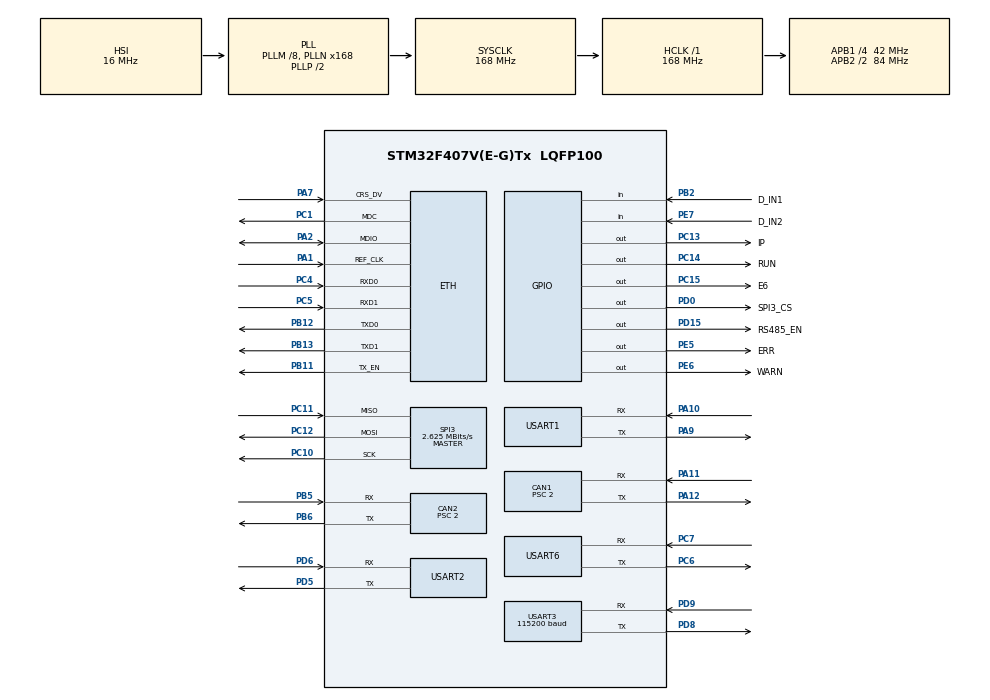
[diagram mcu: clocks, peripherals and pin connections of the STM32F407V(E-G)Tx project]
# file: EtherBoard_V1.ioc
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ADC1.Channel-1\#ChannelRegularConversion=ADC_CHANNEL_TEMPSENSOR
ADC1.ContinuousConvMode=ENABLE
ADC1.NbrOfConversionFlag=1
ADC1.Rank-1\#ChannelRegularConversion=1
ADC1.SamplingTime-1\#ChannelRegularConversion=ADC_SAMPLETIME_480CYCLES
ADC1.master=1
CAN1.ABOM=ENABLE
CAN1.BS1=CAN_BS1_16TQ
CAN1.BS2=CAN_BS2_4TQ
CAN1.CalculateTimeQuantum=47.61904761904762
CAN1.Prescaler=2
CAN2.ABOM=ENABLE
CAN2.BS1=CAN_BS1_16TQ
CAN2.BS2=CAN_BS2_4TQ
CAN2.CalculateTimeQuantum=47.61904761904762
CAN2.Prescaler=2
Dma.ADC1.0.Direction=DMA_PERIPH_TO_MEMORY
Dma.ADC1.0.FIFOMode=DMA_FIFOMODE_DISABLE
Dma.ADC1.0.Instance=DMA2_Stream0
Dma.ADC1.0.MemDataAlignment=DMA_MDATAALIGN_HALFWORD
Dma.ADC1.0.MemInc=DMA_MINC_ENABLE
Dma.ADC1.0.Mode=DMA_CIRCULAR
Dma.ADC1.0.PeriphDataAlignment=DMA_PDATAALIGN_HALFWORD
Dma.ADC1.0.PeriphInc=DMA_PINC_DISABLE
Dma.ADC1.0.Priority=DMA_PRIORITY_LOW
Dma.Request0=ADC1
ETH.AutoNegotiation=ETH_AUTONEGOTIATION_ENABLE
ETH.MACAddr=00\:80\:E1\:00\:00\:01
ETH.MediaInterface=ETH_MEDIA_INTERFACE_RMII
ETH.PHY_CONFIG_DELAY=0x00000FFF
ETH.PHY_DUPLEX_STATUS=0x0004
ETH.PHY_ISFR=0xb
ETH.PHY_ISFR_INT4=0xb
ETH.PHY_Name_RMII=userPHY
ETH.PHY_READ_TO=0x0000FFFF
ETH.PHY_RESET_DELAY=0x000000FF
ETH.PHY_SPEED_STATUS=0x0002
ETH.PHY_SR=0x10
ETH.PHY_User_Name=DP83848
ETH.PHY_WRITE_TO=0x0000FFFF
ETH.PhyAddress=1
ETH.RxMode=ETH_RXPOLLING_MODE
LWIP.GATEWAY_ADDRESS=192.168.002.001
LWIP.IP_ADDRESS=192.168.002.055
LWIP.LWIP_DHCP=1
LWIP.LWIP_HTTPD=1
LWIP.LWIP_HTTPD_CGI=1
LWIP.LWIP_HTTPD_MAX_CGI_PARAMETERS=100
LWIP.LWIP_HTTPD_MAX_REQUEST_URI_LEN=200
LWIP.LWIP_HTTPD_MAX_TAG_INSERT_LEN=250
LWIP.LWIP_HTTPD_MAX_TAG_NAME_LEN=40
LWIP.LWIP_HTTPD_POST_MAX_RESPONSE_URI_LEN=200
LWIP.LWIP_HTTPD_SSI=1
LWIP.LWIP_NETIF_HOSTNAME=0
LWIP.MEMP_NUM_RAW_PCB=4
LWIP.MEMP_NUM_TCP_PCB=30
LWIP.MEMP_NUM_TCP_PCB_LISTEN=60
LWIP.MEMP_NUM_TCP_SEG=25
LWIP.NETMASK_ADDRESS=255.255.255.000
LWIP.TCP_MSS=1024
LWIP.TCP_SND_QUEUELEN=20
LWIP.TCP_WND=4096
LWIP.Version=v2.0.3_Cube
Mcu.Family=STM32F4
Mcu.Name=STM32F407V(E-G)Tx
Mcu.Package=LQFP100
NVIC.CAN1_RX0_IRQn=true\:0\:0\:false\:false\:true\:true\:true
NVIC.CAN2_RX0_IRQn=true\:0\:0\:false\:false\:true\:true\:true
NVIC.DMA2_Stream0_IRQn=true\:0\:0\:false\:false\:true\:false\:true
NVIC.PriorityGroup=NVIC_PRIORITYGROUP_4
NVIC.TIM6_DAC_IRQn=true\:0\:0\:false\:false\:true\:true\:true
PA1.Mode=RMII
PA1.Signal=ETH_REF_CLK
PA10.Mode=Asynchronous
PA10.Signal=USART1_RX
PA11.Mode=Master
PA11.Signal=CAN1_RX
PA12.Mode=Master
PA12.Signal=CAN1_TX
PA13.Mode=Serial_Wire
PA13.Signal=SYS_JTMS-SWDIO
PA14.Mode=Serial_Wire
PA14.Signal=SYS_JTCK-SWCLK
PA2.Mode=RMII
PA2.Signal=ETH_MDIO
PA7.Mode=RMII
PA7.Signal=ETH_CRS_DV
PA9.Mode=Asynchronous
PA9.Signal=USART1_TX
PB11.Mode=RMII
PB11.Signal=ETH_TX_EN
PB12.Mode=RMII
PB12.Signal=ETH_TXD0
PB13.Mode=RMII
PB13.Signal=ETH_TXD1
PB2.GPIO_Label=D_IN1
PB2.GPIO_PuPd=GPIO_PULLDOWN
PB2.Signal=GPIO_Input
PB5.Mode=Slave
PB5.Signal=CAN2_RX
PB6.Mode=Slave
PB6.Signal=CAN2_TX
PC1.Mode=RMII
PC1.Signal=ETH_MDC
PC10.Mode=Full_Duplex_Master
PC10.Signal=SPI3_SCK
PC11.Mode=Full_Duplex_Master
PC11.Signal=SPI3_MISO
PC12.Mode=Full_Duplex_Master
PC12.Signal=SPI3_MOSI
PC13-ANTI_TAMP.GPIO_Label=IP
PC13-ANTI_TAMP.PinState=GPIO_PIN_SET
PC13-ANTI_TAMP.Signal=GPIO_Output
PC14-OSC32_IN.GPIO_Label=RUN
PC14-OSC32_IN.PinState=GPIO_PIN_SET
PC14-OSC32_IN.Signal=GPIO_Output
PC15-OSC32_OUT.GPIO_Label=E6
PC15-OSC32_OUT.PinState=GPIO_PIN_SET
PC15-OSC32_OUT.Signal=GPIO_Output
PC4.Mode=RMII
PC4.Signal=ETH_RXD0
PC5.Mode=RMII
PC5.Signal=ETH_RXD1
PC6.Mode=Asynchronous
PC6.Signal=USART6_TX
PC7.Mode=Asynchronous
PC7.Signal=USART6_RX
PD0.GPIO_Label=SPI3_CS
PD0.GPIO_Speed=GPIO_SPEED_FREQ_HIGH
PD0.PinState=GPIO_PIN_SET
PD0.Signal=GPIO_Output
PD15.GPIO_Label=RS485_EN
PD15.PinState=GPIO_PIN_SET
PD15.Signal=GPIO_Output
PD5.Mode=Asynchronous
PD5.Signal=USART2_TX
PD6.Mode=Asynchronous
PD6.Signal=USART2_RX
PD8.Mode=Asynchronous
PD8.Signal=USART3_TX
PD9.Mode=Asynchronous
PD9.Signal=USART3_RX
PE5.GPIO_Label=ERR
PE5.PinState=GPIO_PIN_SET
PE5.Signal=GPIO_Output
PE6.GPIO_Label=WARN
PE6.PinState=GPIO_PIN_SET
PE6.Signal=GPIO_Output
PE7.GPIO_Label=D_IN2
PE7.GPIO_PuPd=GPIO_PULLDOWN
PE7.Signal=GPIO_Input
PH0-OSC_IN.Mode=HSE-External-Oscillator
PH0-OSC_IN.Signal=RCC_OSC_IN
PH1-OSC_OUT.Mode=HSE-External-Oscillator
PH1-OSC_OUT.Signal=RCC_OSC_OUT
ProjectManager.HeapSize=0x200
ProjectManager.StackSize=0x400
ProjectManager.TargetToolchain=STM32CubeIDE
RCC.48MHZClocksFreq_Value=84000000
RCC.AHBFreq_Value=168000000
RCC.APB1CLKDivider=RCC_HCLK_DIV4
RCC.APB1Freq_Value=42000000
RCC.APB1TimFreq_Value=84000000
RCC.APB2CLKDivider=RCC_HCLK_DIV2
RCC.APB2Freq_Value=84000000
RCC.APB2TimFreq_Value=168000000
RCC.CortexFreq_Value=168000000
RCC.HCLKFreq_Value=168000000
RCC.HSE_VALUE=16000000
RCC.HSI_VALUE=16000000
RCC.LSE_VALUE=32768
RCC.PLLM=8
RCC.PLLN=168
RCC.SYSCLKFreq_VALUE=168000000
RCC.SYSCLKSource=RCC_SYSCLKSOURCE_PLLCLK
RCC.VCOOutputFreq_Value=336000000
SPI3.BaudRatePrescaler=SPI_BAUDRATEPRESCALER_16
SPI3.CLKPhase=SPI_PHASE_2EDGE
SPI3.CalculateBaudRate=2.625 MBits/s
SPI3.DataSize=SPI_DATASIZE_16BIT
SPI3.Direction=SPI_DIRECTION_2LINES
SPI3.Mode=SPI_MODE_MASTER
SPI3.VirtualType=VM_MASTER
TIM6.Period=1000-1
TIM6.Prescaler=8400-1
USART1.VirtualMode=VM_ASYNC
USART2.VirtualMode=VM_ASYNC
USART3.BaudRate=115200
USART3.VirtualMode=VM_ASYNC
USART6.VirtualMode=VM_ASYNC
VP_ADC1_TempSens_Input.Mode=IN-TempSens
VP_LWIP_VS_Enabled.Mode=Enabled
VP_TIM6_VS_ClockSourceINT.Mode=Enable_Timer
board=custom

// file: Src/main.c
/* USER CODE BEGIN Header */
/**
  ******************************************************************************
  * @file           : main.c
  * @brief          : Main program body
  ******************************************************************************
  * @attention
  *
  * <h2><center>&copy; Copyright (c) 2021 STMicroelectronics.
  * All rights reserved.</center></h2>
  *
  * This software component is licensed by ST under BSD 3-Clause license,
  * the "License"; You may not use this file except in compliance with the
  * License. You may obtain a copy of the License at:
  *                        opensource.org/licenses/BSD-3-Clause
  *
  ******************************************************************************
  */
/* USER CODE END Header */

#include "main.h"
#include "lwip.h"

/* USER CODE BEGIN Includes */
#include <string.h>
#include <stdlib.h>
#include <stdarg.h>
#include "lwip/apps/httpd.h"
#include "ethernetif.h"
#include "stm32f4xx_hal.h"
#include "lwip/tcp.h"
#include "ADS8688.h"
#include "FLASH_SECTOR.h"
/* USER CODE END Includes */

/* USER CODE BEGIN PD */
#define USB_DEBUG 1
#define ETH_TCP_DEBUG 1

#define TCP_DEBUG_PORT 6000
#define startport 5000
#define numofports 10
#define numofclients 3

#define default_interval 500
#define default_msg1_interval 100
#define default_msg2_interval 100

#define BYTE_TO_BIN_PAT "%c%c%c%c%c%c%c%c"
#define BYTE_TO_BIN(byte)		\
	(byte & 0x80 ? '1' : '0'),	\
	(byte & 0x40 ? '1' : '0'),	\
	(byte & 0x20 ? '1' : '0'),	\
	(byte & 0x10 ? '1' : '0'),	\
	(byte & 0x08 ? '1' : '0'),	\
	(byte & 0x04 ? '1' : '0'),	\
	(byte & 0x02 ? '1' : '0'),	\
	(byte & 0x01 ? '1' : '0')

#define ADC_BUF_LEN 2

// --------------------------------------------------------------------------- //
/* USER CODE END PD */

ADC_HandleTypeDef hadc1;
DMA_HandleTypeDef hdma_adc1;

CAN_HandleTypeDef hcan1;
CAN_HandleTypeDef hcan2;

SPI_HandleTypeDef hspi3;

TIM_HandleTypeDef htim6;

UART_HandleTypeDef huart1;
UART_HandleTypeDef huart2;
UART_HandleTypeDef huart3;
UART_HandleTypeDef huart6;

/* USER CODE BEGIN PV */
CAN_FilterTypeDef FilterConfig0;

CAN_RxHeaderTypeDef RxHeader1;
CAN_TxHeaderTypeDef TxHeader1;
CAN_RxHeaderTypeDef RxHeader2;
CAN_TxHeaderTypeDef TxHeader2;
uint8_t r1[8];
uint8_t r2[8];
// Can messages
uint8_t msg1[8] = {0,0,0,0,0,0,0,0};
uint8_t msg2[8] = {0,0,0,0,0,0,0,0};

char buf[100];

// Timing Variables
unsigned int current=0, previous=0, interval=default_interval;
uint32_t my_ip=0, my_net=0, my_gw=0, phyreg = 0U;

// General variables
uint8_t red_led=0, blue_led=0, green_led=0, dhcp_en=1, request_static=0, button_pressed=0;
uint16_t adc_buf[ADC_BUF_LEN];

// flash variables
uint32_t flash_data[] = {0x00000000, 0x00000000, 0x00000000, 0x00000000, 0x00000000};
__IO uint32_t flash_rx_data[5];

// ADS variables
ADS8688 ads;
uint16_t ads_data[8];
float volt_helper = 0;
float ads_volt[8] = {0};
int volt[8] = {0};

// tcp variables
struct tcp_pcb *pcb[numofports][numofclients];
volatile uint8_t accepted_pcb[numofports][numofclients];
volatile uint8_t postPorts=0;

#if ETH_TCP_DEBUG
struct tcp_pcb *debug_pcb;
uint8_t debug_port_accepted=0;
#endif
/* USER CODE END PV */

void SystemClock_Config(void);
static void MX_GPIO_Init(void);
static void MX_DMA_Init(void);
static void MX_CAN1_Init(void);
static void MX_CAN2_Init(void);
static void MX_USART2_UART_Init(void);
static void MX_SPI3_Init(void);
static void MX_USART1_UART_Init(void);
static void MX_USART3_UART_Init(void);
static void MX_USART6_UART_Init(void);
static void MX_ADC1_Init(void);
static void MX_TIM6_Init(void);
/* USER CODE BEGIN PFP */

void print(char *msg, ...);
extern uint32_t get_my_ip();
extern uint32_t get_my_netmask();
extern uint32_t get_my_gateway();

err_t my_tcp_accept(void *arg, struct tcp_pcb *newpcb, err_t err);
void my_tcp_init(struct tcp_pcb *pcb, uint16_t port);
void tcp_send_all();

void Print_PHY_Registers();

void CAN1_Tx(uint32_t ID, uint8_t dlc, uint8_t* data);
void CAN1_Rx();
void CAN2_Tx(uint32_t ID, uint8_t dlc,  uint8_t* data);
void CAN2_Rx();

// ----------------------------------------------------------------------------------------------------------------------------------------------------------------------------------------------------
// CGI & SSI Related Variables and functions
// every time you want a new tag in HTML you have to increase the numSSItags and add the tag string inside theSSItags array
#define numSSItags 5
char const *theSSItags[numSSItags] = {"dhcp_status", "ip", "mask", "gw", "dhcp_box"};

// every time you want a new CGI handler, you have to increase the numCGIhandlers, create an new tCGI variable that states the .cgi and the handler function
// Also don't forget to add the new tCGI variable to theCGItable table inside myCGIinit function
#define numCGIhandlers 1
tCGI theCGItable[numCGIhandlers];
const char* NetCGIhandler(int iIndex, int iNumParams, char *pcParam[], char *pcValue[]);
const tCGI NetCGI = { "/net.cgi", NetCGIhandler };
void myCGIinit(void);
u16_t mySSIHandler(int iIndex, char *pcInsert, int iInsertLen);
void mySSIinit(void);
// ----------------------------------------------------------------------------------------------------------------------------------------------------------------------------------------------------

/* USER CODE END PFP */

int main(void)
{

  /* MCU Configuration--------------------------------------------------------*/

  /* Reset of all peripherals, Initializes the Flash interface and the Systick. */
  HAL_Init();

  /* Configure the system clock */
  SystemClock_Config();

  /* USER CODE BEGIN SysInit */
  HAL_Delay(200);
  /* USER CODE END SysInit */

  /* Initialize all configured peripherals */
  MX_GPIO_Init();
  MX_DMA_Init();
  MX_CAN1_Init();
  MX_CAN2_Init();
  MX_USART2_UART_Init();
  MX_SPI3_Init();
  MX_USART1_UART_Init();
  MX_USART3_UART_Init();
  MX_USART6_UART_Init();
  MX_ADC1_Init();
  MX_TIM6_Init();
  MX_LWIP_Init();
  /* USER CODE BEGIN 2 */
  HAL_ADC_Start_DMA(&hadc1, (uint32_t*)adc_buf, ADC_BUF_LEN);

  httpd_init();
  myCGIinit();
  mySSIinit();

  Flash_Read_Data(START_F_ADDRESS_IP, flash_rx_data, 5);
  print("Flash variables:\n");
  for(uint8_t i=0; i<5; i++) {
	  print("%lu\n",flash_rx_data[i]);
	  flash_data[i] = flash_rx_data[i];
  }
  flash_data[0]++;
  if((flash_data[1] & 0x0001) == 1) {
	  dhcp_en = 0;
  }
  Flash_Write_Data(START_F_ADDRESS_IP, flash_data, 5);

  for(uint8_t i=0; i<numofports; i++) {
	  for(uint8_t j=0; j<numofclients; j++) {
		  my_tcp_init(pcb[i][j], startport + i);
	  }
  }
#if ETH_TCP_DEBUG
  my_tcp_init(debug_pcb, TCP_DEBUG_PORT);
#endif

  ADS8688_Init(&ads, &hspi3, SPI3_CS_GPIO_Port, SPI3_CS_Pin);

  HAL_GPIO_WritePin(E6_GPIO_Port, E6_Pin, GPIO_PIN_RESET);
  HAL_GPIO_WritePin(WARN_GPIO_Port, WARN_Pin, GPIO_PIN_RESET);
  HAL_GPIO_WritePin(IP_GPIO_Port, IP_Pin, GPIO_PIN_RESET);
  HAL_GPIO_WritePin(RUN_GPIO_Port, RUN_Pin, GPIO_PIN_RESET);
  HAL_GPIO_WritePin(ERR_GPIO_Port, ERR_Pin, GPIO_PIN_RESET);
  HAL_GPIO_WritePin(D_IN1_GPIO_Port, D_IN1_Pin, GPIO_PIN_RESET);
  HAL_GPIO_WritePin(D_IN2_GPIO_Port, D_IN2_Pin, GPIO_PIN_RESET);
  HAL_Delay(1000);
  HAL_GPIO_WritePin(E6_GPIO_Port, E6_Pin, GPIO_PIN_SET);
  HAL_GPIO_WritePin(WARN_GPIO_Port, WARN_Pin, GPIO_PIN_SET);
  HAL_GPIO_WritePin(IP_GPIO_Port, IP_Pin, GPIO_PIN_SET);
  HAL_GPIO_WritePin(RUN_GPIO_Port, RUN_Pin, GPIO_PIN_SET);
  HAL_GPIO_WritePin(ERR_GPIO_Port, ERR_Pin, GPIO_PIN_SET);
  HAL_GPIO_WritePin(D_IN1_GPIO_Port, D_IN1_Pin, GPIO_PIN_SET);
  HAL_GPIO_WritePin(D_IN2_GPIO_Port, D_IN2_Pin, GPIO_PIN_SET);

  HAL_TIM_Base_Start_IT(&htim6);

  /* USER CODE END 2 */

  /* Infinite loop */
  /* USER CODE BEGIN WHILE */
  while (1)
  {
	  current = HAL_GetTick();
	  MX_LWIP_Process();
    /* USER CODE END WHILE */

    /* USER CODE BEGIN 3 */

	  if(previous<current) {
		  if(get_my_ip() != 0) {
			  HAL_GPIO_WritePin(IP_GPIO_Port, IP_Pin, GPIO_PIN_RESET);
			  HAL_GPIO_TogglePin(RUN_GPIO_Port, RUN_Pin);
		  }
		  else {
			  HAL_GPIO_TogglePin(IP_GPIO_Port, IP_Pin);
		  }

		  my_ip = get_my_ip();
		  print("IP = %lu.%lu.%lu.%lu\n",(my_ip & 0xff), ((my_ip >> 8) & 0xff), ((my_ip >> 16) & 0xff), (my_ip >> 24));
		  my_net = get_my_netmask();
		  print("SUBNET = %lu.%lu.%lu.%lu\n",(my_net & 0xff), ((my_net >> 8) & 0xff), ((my_net >> 16) & 0xff), (my_net >> 24));
		  my_gw = get_my_gateway();
		  print("GATE = %lu.%lu.%lu.%lu\n",(my_gw & 0xff), ((my_gw >> 8) & 0xff), ((my_gw >> 16) & 0xff), (my_gw >> 24));

		  previous = current;
		  previous+=interval;
	  }

	  if(postPorts) {
		  postPorts = 0;
		  ADS_Read_All_Raw(&ads, ads_data);

		  // convert raw measurements to voltages
		  for(int i=0; i<8; i++) {
			  ads_volt[i] = ((float)ads_data[i])*ADS_0_5_VOLTS/4096.0;	// 0-5 volt channels (see ads init function)
			  volt[i] = (int)(ads_volt[i]*100000000);
		  }

		  tcp_send_all();

	  }
  }
  /* USER CODE END 3 */
}

void SystemClock_Config(void)
{
  RCC_OscInitTypeDef RCC_OscInitStruct = {0};
  RCC_ClkInitTypeDef RCC_ClkInitStruct = {0};

  /** Configure the main internal regulator output voltage
  */
  __HAL_RCC_PWR_CLK_ENABLE();
  __HAL_PWR_VOLTAGESCALING_CONFIG(PWR_REGULATOR_VOLTAGE_SCALE1);
  /** Initializes the CPU, AHB and APB busses clocks
  */
  RCC_OscInitStruct.OscillatorType = RCC_OSCILLATORTYPE_HSI;
  RCC_OscInitStruct.HSIState = RCC_HSI_ON;
  RCC_OscInitStruct.HSICalibrationValue = RCC_HSICALIBRATION_DEFAULT;
  RCC_OscInitStruct.PLL.PLLState = RCC_PLL_ON;
  RCC_OscInitStruct.PLL.PLLSource = RCC_PLLSOURCE_HSI;
  RCC_OscInitStruct.PLL.PLLM = 8;
  RCC_OscInitStruct.PLL.PLLN = 168;
  RCC_OscInitStruct.PLL.PLLP = RCC_PLLP_DIV2;
  RCC_OscInitStruct.PLL.PLLQ = 4;
  if (HAL_RCC_OscConfig(&RCC_OscInitStruct) != HAL_OK)
  {
    Error_Handler();
  }
  /** Initializes the CPU, AHB and APB busses clocks
  */
  RCC_ClkInitStruct.ClockType = RCC_CLOCKTYPE_HCLK|RCC_CLOCKTYPE_SYSCLK
                              |RCC_CLOCKTYPE_PCLK1|RCC_CLOCKTYPE_PCLK2;
  RCC_ClkInitStruct.SYSCLKSource = RCC_SYSCLKSOURCE_PLLCLK;
  RCC_ClkInitStruct.AHBCLKDivider = RCC_SYSCLK_DIV1;
  RCC_ClkInitStruct.APB1CLKDivider = RCC_HCLK_DIV4;
  RCC_ClkInitStruct.APB2CLKDivider = RCC_HCLK_DIV2;

  if (HAL_RCC_ClockConfig(&RCC_ClkInitStruct, FLASH_LATENCY_5) != HAL_OK)
  {
    Error_Handler();
  }
}

static void MX_ADC1_Init(void)
{

  ADC_ChannelConfTypeDef sConfig = {0};

  /** Configure the global features of the ADC (Clock, Resolution, Data Alignment and number of conversion)
  */
  hadc1.Instance = ADC1;
  hadc1.Init.ClockPrescaler = ADC_CLOCK_SYNC_PCLK_DIV4;
  hadc1.Init.Resolution = ADC_RESOLUTION_12B;
  hadc1.Init.ScanConvMode = DISABLE;
  hadc1.Init.ContinuousConvMode = ENABLE;
  hadc1.Init.DiscontinuousConvMode = DISABLE;
  hadc1.Init.ExternalTrigConvEdge = ADC_EXTERNALTRIGCONVEDGE_NONE;
  hadc1.Init.ExternalTrigConv = ADC_SOFTWARE_START;
  hadc1.Init.DataAlign = ADC_DATAALIGN_RIGHT;
  hadc1.Init.NbrOfConversion = 1;
  hadc1.Init.DMAContinuousRequests = DISABLE;
  hadc1.Init.EOCSelection = ADC_EOC_SINGLE_CONV;
  if (HAL_ADC_Init(&hadc1) != HAL_OK)
  {
    Error_Handler();
  }
  /** Configure for the selected ADC regular channel its corresponding rank in the sequencer and its sample time.
  */
  sConfig.Channel = ADC_CHANNEL_TEMPSENSOR;
  sConfig.Rank = 1;
  sConfig.SamplingTime = ADC_SAMPLETIME_480CYCLES;
  if (HAL_ADC_ConfigChannel(&hadc1, &sConfig) != HAL_OK)
  {
    Error_Handler();
  }

}

static void MX_CAN1_Init(void)
{

  hcan1.Instance = CAN1;
  hcan1.Init.Prescaler = 2;
  hcan1.Init.Mode = CAN_MODE_NORMAL;
  hcan1.Init.SyncJumpWidth = CAN_SJW_1TQ;
  hcan1.Init.TimeSeg1 = CAN_BS1_16TQ;
  hcan1.Init.TimeSeg2 = CAN_BS2_4TQ;
  hcan1.Init.TimeTriggeredMode = DISABLE;
  hcan1.Init.AutoBusOff = ENABLE;
  hcan1.Init.AutoWakeUp = DISABLE;
  hcan1.Init.AutoRetransmission = DISABLE;
  hcan1.Init.ReceiveFifoLocked = DISABLE;
  hcan1.Init.TransmitFifoPriority = DISABLE;
  if (HAL_CAN_Init(&hcan1) != HAL_OK)
  {
    Error_Handler();
  }

}

static void MX_CAN2_Init(void)
{

  hcan2.Instance = CAN2;
  hcan2.Init.Prescaler = 2;
  hcan2.Init.Mode = CAN_MODE_NORMAL;
  hcan2.Init.SyncJumpWidth = CAN_SJW_1TQ;
  hcan2.Init.TimeSeg1 = CAN_BS1_16TQ;
  hcan2.Init.TimeSeg2 = CAN_BS2_4TQ;
  hcan2.Init.TimeTriggeredMode = DISABLE;
  hcan2.Init.AutoBusOff = ENABLE;
  hcan2.Init.AutoWakeUp = DISABLE;
  hcan2.Init.AutoRetransmission = DISABLE;
  hcan2.Init.ReceiveFifoLocked = DISABLE;
  hcan2.Init.TransmitFifoPriority = DISABLE;
  if (HAL_CAN_Init(&hcan2) != HAL_OK)
  {
    Error_Handler();
  }

}

static void MX_SPI3_Init(void)
{

  /* SPI3 parameter configuration*/
  hspi3.Instance = SPI3;
  hspi3.Init.Mode = SPI_MODE_MASTER;
  hspi3.Init.Direction = SPI_DIRECTION_2LINES;
  hspi3.Init.DataSize = SPI_DATASIZE_16BIT;
  hspi3.Init.CLKPolarity = SPI_POLARITY_LOW;
  hspi3.Init.CLKPhase = SPI_PHASE_2EDGE;
  hspi3.Init.NSS = SPI_NSS_SOFT;
  hspi3.Init.BaudRatePrescaler = SPI_BAUDRATEPRESCALER_16;
  hspi3.Init.FirstBit = SPI_FIRSTBIT_MSB;
  hspi3.Init.TIMode = SPI_TIMODE_DISABLE;
  hspi3.Init.CRCCalculation = SPI_CRCCALCULATION_DISABLE;
  hspi3.Init.CRCPolynomial = 10;
  if (HAL_SPI_Init(&hspi3) != HAL_OK)
  {
    Error_Handler();
  }

}

static void MX_TIM6_Init(void)
{

  TIM_MasterConfigTypeDef sMasterConfig = {0};

  htim6.Instance = TIM6;
  htim6.Init.Prescaler = 8400-1;
  htim6.Init.CounterMode = TIM_COUNTERMODE_UP;
  htim6.Init.Period = 5000-1;
  htim6.Init.AutoReloadPreload = TIM_AUTORELOAD_PRELOAD_DISABLE;
  if (HAL_TIM_Base_Init(&htim6) != HAL_OK)
  {
    Error_Handler();
  }
  sMasterConfig.MasterOutputTrigger = TIM_TRGO_RESET;
  sMasterConfig.MasterSlaveMode = TIM_MASTERSLAVEMODE_DISABLE;
  if (HAL_TIMEx_MasterConfigSynchronization(&htim6, &sMasterConfig) != HAL_OK)
  {
    Error_Handler();
  }

}

static void MX_USART1_UART_Init(void)
{

  huart1.Instance = USART1;
  huart1.Init.BaudRate = 115200;
  huart1.Init.WordLength = UART_WORDLENGTH_8B;
  huart1.Init.StopBits = UART_STOPBITS_1;
  huart1.Init.Parity = UART_PARITY_NONE;
  huart1.Init.Mode = UART_MODE_TX_RX;
  huart1.Init.HwFlowCtl = UART_HWCONTROL_NONE;
  huart1.Init.OverSampling = UART_OVERSAMPLING_16;
  if (HAL_UART_Init(&huart1) != HAL_OK)
  {
    Error_Handler();
  }

}

static void MX_USART2_UART_Init(void)
{

  huart2.Instance = USART2;
  huart2.Init.BaudRate = 115200;
  huart2.Init.WordLength = UART_WORDLENGTH_8B;
  huart2.Init.StopBits = UART_STOPBITS_1;
  huart2.Init.Parity = UART_PARITY_NONE;
  huart2.Init.Mode = UART_MODE_TX_RX;
  huart2.Init.HwFlowCtl = UART_HWCONTROL_NONE;
  huart2.Init.OverSampling = UART_OVERSAMPLING_16;
  if (HAL_UART_Init(&huart2) != HAL_OK)
  {
    Error_Handler();
  }

}

static void MX_USART3_UART_Init(void)
{

  huart3.Instance = USART3;
  huart3.Init.BaudRate = 115200;
  huart3.Init.WordLength = UART_WORDLENGTH_8B;
  huart3.Init.StopBits = UART_STOPBITS_1;
  huart3.Init.Parity = UART_PARITY_NONE;
  huart3.Init.Mode = UART_MODE_TX_RX;
  huart3.Init.HwFlowCtl = UART_HWCONTROL_NONE;
  huart3.Init.OverSampling = UART_OVERSAMPLING_16;
  if (HAL_UART_Init(&huart3) != HAL_OK)
  {
    Error_Handler();
  }

}

static void MX_USART6_UART_Init(void)
{

  huart6.Instance = USART6;
  huart6.Init.BaudRate = 115200;
  huart6.Init.WordLength = UART_WORDLENGTH_8B;
  huart6.Init.StopBits = UART_STOPBITS_1;
  huart6.Init.Parity = UART_PARITY_NONE;
  huart6.Init.Mode = UART_MODE_TX_RX;
  huart6.Init.HwFlowCtl = UART_HWCONTROL_NONE;
  huart6.Init.OverSampling = UART_OVERSAMPLING_16;
  if (HAL_UART_Init(&huart6) != HAL_OK)
  {
    Error_Handler();
  }

}

static void MX_DMA_Init(void)
{

  /* DMA controller clock enable */
  __HAL_RCC_DMA2_CLK_ENABLE();

  /* DMA interrupt init */
  /* DMA2_Stream0_IRQn interrupt configuration */
  HAL_NVIC_SetPriority(DMA2_Stream0_IRQn, 0, 0);
  HAL_NVIC_EnableIRQ(DMA2_Stream0_IRQn);

}

static void MX_GPIO_Init(void)
{
  GPIO_InitTypeDef GPIO_InitStruct = {0};

  /* GPIO Ports Clock Enable */
  __HAL_RCC_GPIOE_CLK_ENABLE();
  __HAL_RCC_GPIOC_CLK_ENABLE();
  __HAL_RCC_GPIOH_CLK_ENABLE();
  __HAL_RCC_GPIOA_CLK_ENABLE();
  __HAL_RCC_GPIOB_CLK_ENABLE();
  __HAL_RCC_GPIOD_CLK_ENABLE();

  /*Configure GPIO pin Output Level */
  HAL_GPIO_WritePin(GPIOE, ERR_Pin|WARN_Pin, GPIO_PIN_SET);

  /*Configure GPIO pin Output Level */
  HAL_GPIO_WritePin(GPIOC, IP_Pin|RUN_Pin|E6_Pin, GPIO_PIN_SET);

  /*Configure GPIO pin Output Level */
  HAL_GPIO_WritePin(GPIOD, RS485_EN_Pin|SPI3_CS_Pin, GPIO_PIN_SET);

  /*Configure GPIO pins : ERR_Pin WARN_Pin */
  GPIO_InitStruct.Pin = ERR_Pin|WARN_Pin;
  GPIO_InitStruct.Mode = GPIO_MODE_OUTPUT_PP;
  GPIO_InitStruct.Pull = GPIO_NOPULL;
  GPIO_InitStruct.Speed = GPIO_SPEED_FREQ_LOW;
  HAL_GPIO_Init(GPIOE, &GPIO_InitStruct);

  /*Configure GPIO pins : IP_Pin RUN_Pin E6_Pin */
  GPIO_InitStruct.Pin = IP_Pin|RUN_Pin|E6_Pin;
  GPIO_InitStruct.Mode = GPIO_MODE_OUTPUT_PP;
  GPIO_InitStruct.Pull = GPIO_NOPULL;
  GPIO_InitStruct.Speed = GPIO_SPEED_FREQ_LOW;
  HAL_GPIO_Init(GPIOC, &GPIO_InitStruct);

  /*Configure GPIO pin : D_IN1_Pin */
  GPIO_InitStruct.Pin = D_IN1_Pin;
  GPIO_InitStruct.Mode = GPIO_MODE_INPUT;
  GPIO_InitStruct.Pull = GPIO_PULLDOWN;
  HAL_GPIO_Init(D_IN1_GPIO_Port, &GPIO_InitStruct);

  /*Configure GPIO pin : D_IN2_Pin */
  GPIO_InitStruct.Pin = D_IN2_Pin;
  GPIO_InitStruct.Mode = GPIO_MODE_INPUT;
  GPIO_InitStruct.Pull = GPIO_PULLDOWN;
  HAL_GPIO_Init(D_IN2_GPIO_Port, &GPIO_InitStruct);

  /*Configure GPIO pin : RS485_EN_Pin */
  GPIO_InitStruct.Pin = RS485_EN_Pin;
  GPIO_InitStruct.Mode = GPIO_MODE_OUTPUT_PP;
  GPIO_InitStruct.Pull = GPIO_NOPULL;
  GPIO_InitStruct.Speed = GPIO_SPEED_FREQ_LOW;
  HAL_GPIO_Init(RS485_EN_GPIO_Port, &GPIO_InitStruct);

  /*Configure GPIO pin : SPI3_CS_Pin */
  GPIO_InitStruct.Pin = SPI3_CS_Pin;
  GPIO_InitStruct.Mode = GPIO_MODE_OUTPUT_PP;
  GPIO_InitStruct.Pull = GPIO_NOPULL;
  GPIO_InitStruct.Speed = GPIO_SPEED_FREQ_HIGH;
  HAL_GPIO_Init(SPI3_CS_GPIO_Port, &GPIO_InitStruct);

}

/* USER CODE BEGIN 4 */
void tcp_send_all() {
	  for(uint8_t i=0; i<numofports; i++) {
		  char buf_out[30];
		  if(i<8) {
			  sprintf(buf_out, "%.2f\r", ads_volt[i]);
		  }
		  else {
			  sprintf(buf_out, "this is port: %d\n", (5000 + i));
		  }
		  for(uint8_t j=0; j<numofclients; j++) {
			  if(accepted_pcb[i][j]) {

				  if( pcb[i][j] != NULL && pcb[i][j]->state == ESTABLISHED) {
					  if(tcp_write(pcb[i][j], &buf_out, strlen(buf_out)+1, TCP_WRITE_FLAG_COPY) != ERR_OK) {
						  print("----------- FAIL: write did not return ok\n");
//						  tcp_close(pcb[i][j]);
//						  accepted_pcb[i][j] = 0;
					  }
					  else {
						  tcp_output(pcb[i][j]);
						  print(buf, "+++++++   WRITING on port: %d conn %d\n", startport + i, j+1);
					  }
				  }
				  else {
					  print("----------- Connection closed on port: %d conn %d\n", startport + i, j+1);
					  tcp_close(pcb[i][j]);
					  accepted_pcb[i][j] = 0;
				  }
			  }
		  }

	  }
}

const char* NetCGIhandler(int iIndex, int iNumParams, char *pcParam[], char *pcValue[]) {
	int offset = 0;
	if (strcmp(pcParam[0], "dhcp") == 0) {
		offset = 1;
		if (strcmp(pcValue[0], "1") == 0) { // submitted checked
			if(!dhcp_en) { 	// this means that dhcp was disabled and we want to enable it
				print("---------------------------------------------------\n");
				print(" -Got request to enable DHCP\n");
				flash_data[1] = 0;
				Flash_Write_Data(START_F_ADDRESS_IP, flash_data, 5);
				NVIC_SystemReset();
			}
		}
	}
	if(strcmp(pcParam[0+offset], "ip_1") == 0 && !offset) {
		if(iNumParams >= 12) {																	// NOT SURE IF NEDDED !!!!!!!!!!!!!!!!!!!!!!!!!!!!!!!!!!
			print("---------------------------------------------------\n");
			print(" -Got request to change network setting to:\n");

			for(int i = 0; i < iNumParams-offset; i++) {
				print("%s: %s\n", pcParam[i+offset], pcValue[i+offset]);
			}
			print("---------------------------------------------------\n");

			flash_data[1] = 1;
			flash_data[2] = (uint32_t)(atoi(pcValue[0+offset])<<0) + (uint32_t)(atoi(pcValue[1+offset])<<8) + (uint32_t)(atoi(pcValue[2+offset])<<16) + (uint32_t)(atoi(pcValue[3+offset])<<24);
			flash_data[3] = (uint32_t)(atoi(pcValue[4+offset])<<0) + (uint32_t)(atoi(pcValue[5+offset])<<8) + (uint32_t)(atoi(pcValue[6+offset])<<16) + (uint32_t)(atoi(pcValue[7+offset])<<24);
			flash_data[4] = (uint32_t)(atoi(pcValue[8+offset])<<0) + (uint32_t)(atoi(pcValue[9+offset])<<8) + (uint32_t)(atoi(pcValue[10+offset])<<16) + (uint32_t)(atoi(pcValue[11+offset])<<24);
			Flash_Write_Data(START_F_ADDRESS_IP, flash_data, 5);
			NVIC_SystemReset();
		}
		else {
			print(" -Something went wrong with the parameters...they are less than 11\n");
		}

	}
	return "/index.shtml";
}

void myCGIinit(void) {
    //add LED control CGI to the table
    theCGItable[0] = NetCGI;
    //give the table to the HTTP server
    http_set_cgi_handlers(theCGItable, numCGIhandlers);
}

u16_t mySSIHandler(int iIndex, char *pcInsert, int iInsertLen) {
	char *tmp;
	tmp = "";
	if (iIndex == 0) {// dhcp status
		if(dhcp_en) {
			tmp = "ON";
		}
		else {
			tmp = "OFF";
			request_static = 1;
		}
	}
	else if (iIndex == 1) {	// ip address
		my_ip = get_my_ip();
		char tmp1[50];
		sprintf(tmp1, "%lu.%lu.%lu.%lu",(my_ip & 0xff), ((my_ip >> 8) & 0xff), ((my_ip >> 16) & 0xff), (my_ip >> 24));
		strcpy(pcInsert, tmp1);
		return strlen(tmp1);
	}
	else if (iIndex == 2) {	// subnet mask
		my_ip = get_my_netmask();
		char tmp1[50];
		sprintf(tmp1, "%lu.%lu.%lu.%lu",(my_net & 0xff), ((my_net >> 8) & 0xff), ((my_net >> 16) & 0xff), (my_net >> 24));
		strcpy(pcInsert, tmp1);
		return strlen(tmp1);
	}
	else if (iIndex == 3) {	// default gateway
		my_ip = get_my_gateway();
		char tmp1[50];
		sprintf(tmp1, "%lu.%lu.%lu.%lu",(my_gw & 0xff), ((my_gw >> 8) & 0xff), ((my_gw >> 16) & 0xff), (my_gw >> 24));
		strcpy(pcInsert, tmp1);
		return strlen(tmp1);
	}
	else if (iIndex == 4) {	// dhcp checkbox
		if (dhcp_en) {
			tmp = "<input value=\"1\" name=\"dhcp\" type=\"checkbox\" checked>";
		}
		else {
			tmp ="<input value=\"1\" name=\"dhcp\" type=\"checkbox\">";
		}
	}
//	else if (iIndex == 5) {	// static ip menu
//		if (request_static) {
////			HAL_Delay(600);
//			tmp = "  Select your settings and press Submit order to get static address<br><form method=\"get\" action=\"/net.cgi\"> IP Address: <input type=\"text\" name=\"ip_1\" value=\"192\" maxlength=\"3\" size=\"1\">. <input type=\"text\" name=\"ip_2\" value=\"168\" maxlength=\"3\" size=\"1\">. <input type=\"text\" name=\"ip_3\" value=\"1\" maxlength=\"3\" size=\"1\">. <input type=\"text\" name=\"ip_4\" value=\"20\" maxlength=\"3\" size=\"1\"><br> Subnet Mask: <input type=\"text\" name=\"net_1\" value=\"255\" maxlength=\"3\" size=\"1\">. <input type=\"text\" name=\"net_2\" value=\"255\" maxlength=\"3\" size=\"1\">. <input type=\"text\" name=\"net_3\" value=\"255\" maxlength=\"3\" size=\"1\">. <input type=\"text\" name=\"net_4\" value=\"0\" maxlength=\"3\" size=\"1\"><br> Default Gateway: <input type=\"text\" name=\"gw_1\" value=\"192\" maxlength=\"3\" size=\"1\">. <input type=\"text\" name=\"gw_2\" value=\"168\" maxlength=\"3\" size=\"1\">. <input type=\"text\" name=\"gw_3\" value=\"1\" maxlength=\"3\" size=\"1\">. <input type=\"text\" name=\"gw_4\" value=\"1\" maxlength=\"3\" size=\"1\"><br> <input value=\"Submit\" type=\"submit\"></form>";
//		}
//		else {
//			tmp = "";
//		}
//	}
	else {
		tmp = "";
	}
	strcpy(pcInsert, tmp);
	return strlen(tmp);
}

void mySSIinit(void) {
	http_set_ssi_handler(mySSIHandler, (char const**) theSSItags,numSSItags);
}

void CAN1_Tx(uint32_t ID, uint8_t dlc, uint8_t* data) {

	uint32_t TxMailbox;

	TxHeader1.DLC = dlc;
	TxHeader1.StdId = ID;
	TxHeader1.IDE = CAN_ID_STD;
	TxHeader1.RTR = CAN_RTR_DATA;

	if(HAL_CAN_AddTxMessage(&hcan1, &TxHeader1, data, &TxMailbox) != HAL_OK) {
		//Error_Handler();
		print("Failed to Add Message can 1\n");
	}
	print("Sending Message to can 1\n");
	while(HAL_CAN_IsTxMessagePending(&hcan1, TxMailbox));
	print("Message Sent to can 1\n");

}

void CAN2_Tx(uint32_t ID, uint8_t dlc,  uint8_t* data) {

	uint32_t TxMailbox;

	TxHeader2.DLC = dlc;
	TxHeader2.StdId = ID;
	TxHeader2.IDE = CAN_ID_STD;
	TxHeader2.RTR = CAN_RTR_DATA;

	if(HAL_CAN_AddTxMessage(&hcan2, &TxHeader2, data, &TxMailbox) != HAL_OK) {
		//Error_Handler();
		print("Failed to Add Message can 2\n");
	}
	print("Sending Message to can 2\n");
	while(HAL_CAN_IsTxMessagePending(&hcan2, TxMailbox));
	print("Message Sent to can 2\n");
}

void CAN1_Rx() {
	 HAL_CAN_GetRxMessage(&hcan1, CAN_RX_FIFO0, &RxHeader1, r1);

	 //dont forget to add and enable filters

	 switch(RxHeader1.StdId) {

	 case 0x000 :

		 break;
	 }

}

void CAN2_Rx() {
	 HAL_CAN_GetRxMessage(&hcan2, CAN_RX_FIFO0, &RxHeader2, r2);

	 //dont forget to add and enable filters

	 switch(RxHeader2.StdId) {

	 case 0x000 :

		 break;
	 }

}
err_t my_tcp_accept(void *arg, struct tcp_pcb *newpcb, err_t err) {
    LWIP_UNUSED_ARG(arg);
    LWIP_UNUSED_ARG(err);

    tcp_setprio(newpcb, TCP_PRIO_NORMAL);
    tcp_recv(newpcb, NULL);
    tcp_err(newpcb, NULL);
    tcp_poll(newpcb, NULL, 4);
    uint16_t port = newpcb->local_port;
    print("+++++ ACCEPTED  on port: %u", port);
#if ETH_TCP_DEBUG
    if(port == TCP_DEBUG_PORT && !debug_port_accepted) {
    	debug_port_accepted = 1;
    	debug_pcb = newpcb;
    	return ERR_OK;
    }
#endif

    uint16_t index = port % startport;
    for(uint8_t i=0; i<numofclients; i++) {
    	if(!accepted_pcb[index][i]) {
    		pcb[index][i] = newpcb;
    		accepted_pcb[index][i] = 1;
    		return ERR_OK;
    	}
    }
    print("Something went wrong while connecting on port: %u",  port);
    print("Max 3 connections at a time per port are allowed..Ignoring request\n");
    return ERR_OK;
}

void my_tcp_init(struct tcp_pcb *pcb, uint16_t port) {
/* create new tcp pcb */
	pcb = tcp_new();
	if (pcb != NULL) {
		err_t err;
		/* bind echo_pcb to port 7 (ECHO protocol) */
		err = tcp_bind(pcb, IP_ADDR_ANY, port);
		if (err == ERR_OK) {
			/* start tcp listening for echo_pcb */
			pcb = tcp_listen(pcb);
			/* initialize LwIP tcp_accept callback function */
			tcp_accept(pcb, my_tcp_accept);

			// check for tcp_accepted()
		}
		else {
			/* deallocate the pcb */
			memp_free(MEMP_TCP_PCB, pcb);
		}
	}
}

void Print_PHY_Registers() {
	print("-----------------------------------------------------------\n");
	HAL_ETH_ReadPHYRegister(&heth, PHY_BCR, &phyreg);
	print("BMCR: "BYTE_TO_BIN_PAT" "BYTE_TO_BIN_PAT"      %#.4X\n", BYTE_TO_BIN(phyreg>>8), BYTE_TO_BIN(phyreg), phyreg);
	HAL_ETH_ReadPHYRegister(&heth, PHY_BSR, &phyreg);
	print("BMSR: "BYTE_TO_BIN_PAT" "BYTE_TO_BIN_PAT"      %#.4X\n", BYTE_TO_BIN(phyreg>>8), BYTE_TO_BIN(phyreg), phyreg);
	HAL_ETH_ReadPHYRegister(&heth, 0x04, &phyreg);
	print("ANAR: "BYTE_TO_BIN_PAT" "BYTE_TO_BIN_PAT"      %#.4X\n", BYTE_TO_BIN(phyreg>>8), BYTE_TO_BIN(phyreg), phyreg);
	HAL_ETH_ReadPHYRegister(&heth, 0x05, &phyreg);
	print("ANLPAR: "BYTE_TO_BIN_PAT" "BYTE_TO_BIN_PAT"      %#.4X\n", BYTE_TO_BIN(phyreg>>8), BYTE_TO_BIN(phyreg), phyreg);
	HAL_ETH_ReadPHYRegister(&heth, 0x06, &phyreg);
	print("ANER: "BYTE_TO_BIN_PAT" "BYTE_TO_BIN_PAT"      %#.4X\n", BYTE_TO_BIN(phyreg>>8), BYTE_TO_BIN(phyreg), phyreg);
	HAL_ETH_ReadPHYRegister(&heth, 0x07, &phyreg);
	print("ANNPTR: "BYTE_TO_BIN_PAT" "BYTE_TO_BIN_PAT"      %#.4X\n", BYTE_TO_BIN(phyreg>>8), BYTE_TO_BIN(phyreg), phyreg);
	HAL_ETH_ReadPHYRegister(&heth, PHY_SR, &phyreg);
	print("PHYSTS(SR): "BYTE_TO_BIN_PAT" "BYTE_TO_BIN_PAT"      %#.4X\n", BYTE_TO_BIN(phyreg>>8), BYTE_TO_BIN(phyreg), phyreg);
	HAL_ETH_ReadPHYRegister(&heth, 0x14, &phyreg);
	print("FCSCR: "BYTE_TO_BIN_PAT" "BYTE_TO_BIN_PAT"      %#.4X\n", BYTE_TO_BIN(phyreg>>8), BYTE_TO_BIN(phyreg), phyreg);
	HAL_ETH_ReadPHYRegister(&heth, 0x15, &phyreg);
	print("RECR: "BYTE_TO_BIN_PAT" "BYTE_TO_BIN_PAT"      %#.4X\n", BYTE_TO_BIN(phyreg>>8), BYTE_TO_BIN(phyreg), phyreg);
	HAL_ETH_ReadPHYRegister(&heth, 0x16, &phyreg);
	print("PCSR: "BYTE_TO_BIN_PAT" "BYTE_TO_BIN_PAT"      %#.4X\n", BYTE_TO_BIN(phyreg>>8), BYTE_TO_BIN(phyreg), phyreg);
	HAL_ETH_ReadPHYRegister(&heth, 0x17, &phyreg);
	print("RBR: "BYTE_TO_BIN_PAT" "BYTE_TO_BIN_PAT"      %#.4X\n", BYTE_TO_BIN(phyreg>>8), BYTE_TO_BIN(phyreg), phyreg);
	HAL_ETH_ReadPHYRegister(&heth, 0x18, &phyreg);
	print("LEDCR: "BYTE_TO_BIN_PAT" "BYTE_TO_BIN_PAT"      %#.4X\n", BYTE_TO_BIN(phyreg>>8), BYTE_TO_BIN(phyreg), phyreg);
	HAL_ETH_ReadPHYRegister(&heth, 0x19, &phyreg);
	print("PHYCR: "BYTE_TO_BIN_PAT" "BYTE_TO_BIN_PAT"      %#.4X\n", BYTE_TO_BIN(phyreg>>8), BYTE_TO_BIN(phyreg), phyreg);
	HAL_ETH_ReadPHYRegister(&heth, 0x1A, &phyreg);
	print("10BTSCR: "BYTE_TO_BIN_PAT" "BYTE_TO_BIN_PAT"      %#.4X\n", BYTE_TO_BIN(phyreg>>8), BYTE_TO_BIN(phyreg), phyreg);
	HAL_ETH_ReadPHYRegister(&heth, 0x1B, &phyreg);
	print("CDCTRL1: "BYTE_TO_BIN_PAT" "BYTE_TO_BIN_PAT"      %#.4X\n", BYTE_TO_BIN(phyreg>>8), BYTE_TO_BIN(phyreg), phyreg);
	HAL_ETH_ReadPHYRegister(&heth, 0x1D, &phyreg);
	print("EDCR: "BYTE_TO_BIN_PAT" "BYTE_TO_BIN_PAT"      %#.4X\n", BYTE_TO_BIN(phyreg>>8), BYTE_TO_BIN(phyreg), phyreg);
	print("-----------------------------------------------------------\n");
}

void print(char *msg, ...) {

	char buff[100];
	va_list args;
	va_start(args, msg);
	vsprintf(buff,msg,args);
#if USB_DEBUG
	HAL_UART_Transmit(&huart2, (uint8_t *)buff, strlen(buff), 10);
#endif
#if ETH_TCP_DEBUG
	 if(debug_port_accepted) {
		  if( debug_pcb != NULL && debug_pcb->state == ESTABLISHED) {
			  if(tcp_write(debug_pcb, &buff, strlen(buff)+1, TCP_WRITE_FLAG_COPY) != ERR_OK) {
				  // something went wrong...
			  }
			  else {
				  tcp_output(debug_pcb);
			  }
		  }
		  else {
			  tcp_close(debug_pcb);
			  debug_port_accepted = 0;
		  }
	 }
#endif
}

void HAL_TIM_PeriodElapsedCallback(TIM_HandleTypeDef *htim) {

	if(htim == &htim6) {
		postPorts = 1;
	}
}
/* USER CODE END 4 */

void Error_Handler(void)
{
}

/************************ (C) COPYRIGHT STMicroelectronics *****END OF FILE****/
